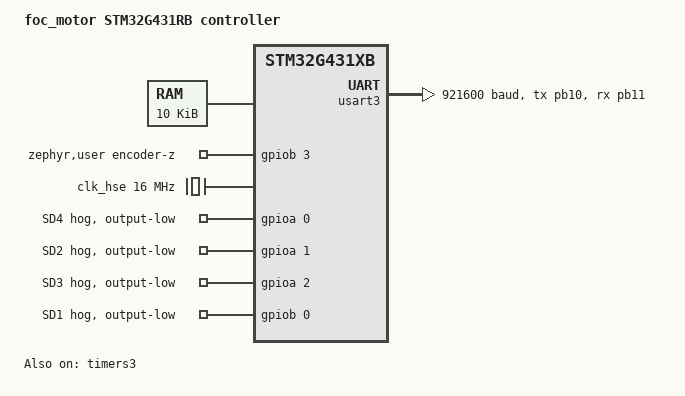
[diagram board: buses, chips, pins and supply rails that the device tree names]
/* SPDX-License-Identifier: Apache-2.0 */

/dts-v1/;
#include <st/g4/stm32g431Xb.dtsi>
#include <st/g4/stm32g431r(6-8-b)tx-pinctrl.dtsi>
#include <zephyr/dt-bindings/dma/stm32_dma.h>
#include <zephyr/dt-bindings/gpio/gpio.h>

/ {
	model = "foc_motor STM32G431RB controller";
	compatible = "foc-motor";

	/*
	 * RM0440, memory map and embedded SRAM (DS12589 section 3.5 also
	 * confirms the addresses/sizes): the 10 KiB CCM code window uses
	 * the CPU I-code/D-code buses with zero wait states. DMA must
	 * not use this 0x10000000 window; keep all DMA buffers in sram0.
	 */
	ccm: memory@10000000 {
		compatible = "zephyr,memory-region", "mmio-sram";
		reg = <0x10000000 DT_SIZE_K(10)>;
		zephyr,memory-region = "CCM";
	};

	chosen {
		zephyr,console = &usart3;
		zephyr,shell-uart = &usart3;
		zephyr,sram = &sram0;
		zephyr,flash = &flash0;
	};

	/*
	 * HW-ENC-007 harness as built: encoder CN2-4 Z -> U7-3 PB3, rising edge
	 * once per turn. PB3 is also TRACESWO; only SWD is used, so the SWO
	 * trace output is unavailable while this pin is the Z input.
	 */
	zephyr,user {
		encoder-z-gpios = <&gpiob 3 (GPIO_ACTIVE_HIGH | GPIO_PULL_UP)>;
	};
};

/*
 * RM0440, embedded SRAM; DS12589 section 3.5: SRAM1 = 16 KiB, SRAM2 =
 * 6 KiB. The remaining 10 KiB of upstream sram0 is the CCM alias at
 * 0x20005800 (accessible to DMA through the System bus). Exclude that
 * alias so stacks, data and DMA cannot overlap CCM code.
 */
&sram0 {
	reg = <0x20000000 DT_SIZE_K(22)>;
};

&clk_hse {
	clock-frequency = <DT_FREQ_M(16)>;
	status = "okay";
};

&pll {
	div-m = <4>;
	mul-n = <85>;
	div-p = <7>;
	div-q = <2>;
	div-r = <2>;
	clocks = <&clk_hse>;
	status = "okay";
};

&rcc {
	clocks = <&pll>;
	clock-frequency = <DT_FREQ_M(170)>;
	ahb-prescaler = <1>;
	apb1-prescaler = <1>;
	apb2-prescaler = <1>;
};

&gpioa {
	status = "okay";

	sd4_hog: motor-shutdown-d {
		gpio-hog;
		gpios = <0 GPIO_ACTIVE_HIGH>;
		output-low;
		line-name = "SD4";
	};

	sd2_hog: motor-shutdown-b {
		gpio-hog;
		gpios = <1 GPIO_ACTIVE_HIGH>;
		output-low;
		line-name = "SD2";
	};

	sd3_hog: motor-shutdown-c {
		gpio-hog;
		gpios = <2 GPIO_ACTIVE_HIGH>;
		output-low;
		line-name = "SD3";
	};
};

&gpiob {
	status = "okay";

	sd1_hog: motor-shutdown-a {
		gpio-hog;
		gpios = <0 GPIO_ACTIVE_HIGH>;
		output-low;
		line-name = "SD1";
	};
};

/* HW-UART-003: H2 pin 6 TX/PB10, pin 5 RX/PB11, pin 1 GND. */
&usart3 {
	pinctrl-0 = <&usart3_tx_pb10 &usart3_rx_pb11>;
	pinctrl-names = "default";
	current-speed = <921600>;
	interrupts = <39 5>;
	dmas = <&dmamux1 2 29 (STM32_DMA_PERIPH_TX | STM32_DMA_PRIORITY_LOW)>;
	dma-names = "tx";
	status = "okay";
};

/*
 * HW-ENC-005/007: encoder A -> PB4 TIM3_CH1, B -> PB5 TIM3_CH2 (AF2). The
 * KTH7823 holds A/B/Z high at power-up, so the pull-ups match its idle level
 * and keep the inputs defined while the harness is unplugged.
 */
&tim3_ch1_pb4 {
	bias-pull-up;
};

&tim3_ch2_pb5 {
	bias-pull-up;
};

&timers3 {
	status = "okay";

	encoder: qdec {
		compatible = "st,stm32-qdec";
		pinctrl-0 = <&tim3_ch1_pb4 &tim3_ch2_pb5>;
		pinctrl-names = "default";
		/* x4: count every A and B edge, 1024 A/B periods -> 4096 counts per turn (HW-ENC-003). */
		st,encoder-mode = <0x3>;
		/* 8 samples at 170 MHz = 47 ns, well below the edge spacing at motor speed. */
		st,input-filter-level = <3>;
		st,counts-per-revolution = <4096>;
		status = "okay";
	};
};

/*
 * TIM1, ADC2 and DMA2 stay disabled here on purpose: src/pwm_adc.c drives
 * them directly (TIM1 outputs off, ADC2 [IA, IC] on TIM1 TRGO2, DMA2
 * channel 1), so no Zephyr driver or pinctrl may claim them. PC0-PC3 keep
 * their reset analog mode (HW-PWM-009).
 */

&exti {
	/* Same level as the other drivers; the FOC ISR is the only planned zero-latency IRQ. */
	interrupts = <6 5>, <7 5>, <8 5>, <9 5>, <10 5>, <23 5>, <40 5>;
};

&dma1 {
	interrupts = <11 5>, <12 5>, <13 5>, <14 5>, <15 5>, <16 5>;
	status = "okay";
};

&dmamux1 {
	status = "okay";
};
